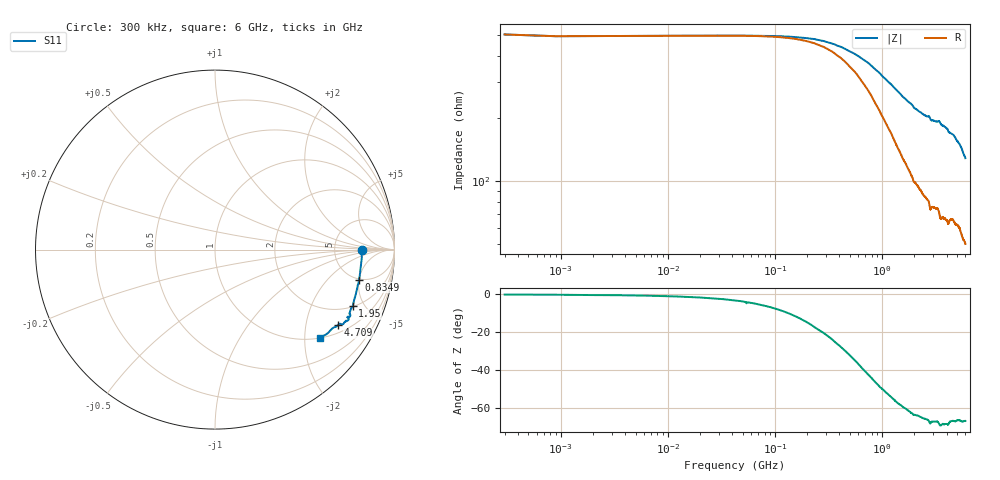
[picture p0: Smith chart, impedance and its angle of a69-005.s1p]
!  3/12/2021  10:39:16
! Ref Plane: 23.990 mm
# MHZ S MA R  50
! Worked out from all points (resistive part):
!   10001 points, 300 kHz to 6 GHz, reference 50 ohm
!   read as one part to ground: R = 498 ohm at 30.3 MHz
!   S11 on the Smith chart (normalised r, x): 300 kHz: 10, -0; 834.9 MHz: 4.90, -4.99; 1.95 GHz: 2.04, -4.11; 4.709 GHz: 1.28, -3.04; 6 GHz: 1.00, -2.38
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0.3  0.8198 -0.0
391.4804  0.8181 -5.8
750.2625  0.8197 -10.7
834.8583  0.8196 -11.8
1094.045  0.8205 -14.8
1500.225  0.8233 -18.8
1950.203  0.8293 -22.3
2250.188  0.8275 -24.0
2611.969  0.829 -25.4
2719.364  0.8327 -25.6
2784.761  0.8391 -26.0
2839.358  0.8359 -26.7
2890.956  0.8312 -26.8
3000.15  0.83 -26.8
3271.336  0.8278 -27.1
3378.131  0.8343 -27.1
3454.927  0.8401 -27.5
3555.722  0.8375 -28.3
3666.717  0.8308 -28.5
3750.113  0.8315 -28.6
4093.295  0.8269 -29.7
4164.692  0.8231 -30.4
4275.086  0.8128 -30.6
4500.075  0.8063 -30.9
4708.865  0.8039 -31.6
5250.038  0.7871 -34.2
5551.822  0.7832 -36.3
6000  0.7651 -40.0
